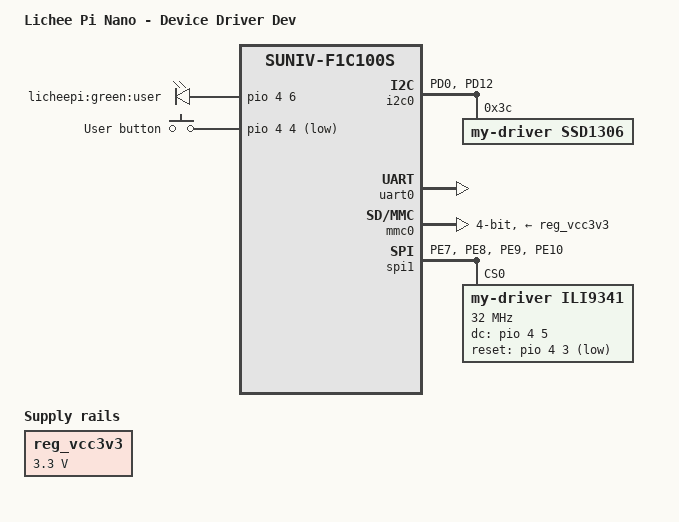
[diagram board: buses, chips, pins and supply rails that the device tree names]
// SPDX-License-Identifier: (GPL-2.0+ OR X11)
/*
 * LicheePi Nano — Device Driver Development Board DTS
 *
 * Compatible với kernel fork florpor/linux licheepi-nano-v5.4.y
 * DTSI của fork thiếu i2c0/i2c1/i2c2 — định nghĩa i2c0 inline dưới soc.
 *
 * Pin assignments:
 *   PE0/PE1  — UART0 (console, 115200)
 *   PE3      — GPIO out → ILI9341 RST  (active-low)
 *   PE4      — GPIO in  → Button interrupt (active-low, nối GND)
 *   PE5      — GPIO out → ILI9341 DC
 *   PE6      — GPIO out → LED
 *   PE7      — SPI1 CS
 *   PE8      — SPI1 MOSI
 *   PE9      — SPI1 CLK
 *   PE10     — SPI1 MISO
 *   PD0      — I2C0 SDA → SSD1306
 *   PD12     — I2C0 SCK
 *   PF0–PF5  — MMC0 (SD card)
 */

/dts-v1/;
#include "suniv-f1c100s.dtsi"
#include <dt-bindings/gpio/gpio.h>
#include <dt-bindings/input/input.h>
#include <dt-bindings/interrupt-controller/irq.h>

/ {
	model = "Lichee Pi Nano - Device Driver Dev";
	compatible = "licheepi,licheepi-nano", "allwinner,suniv-f1c100s";

	aliases {
		serial0 = &uart0;
	};

	chosen {
		stdout-path = "serial0:115200n8";
	};

	reg_vcc3v3: vcc3v3 {
		compatible = "regulator-fixed";
		regulator-name = "vcc3v3";
		regulator-min-microvolt = <3300000>;
		regulator-max-microvolt = <3300000>;
	};

	/* Task 1: GPIO LED blink
	 * Driver: drivers/leds/leds-gpio.c (CONFIG_LEDS_GPIO — đã có)
	 * Test:   echo 1 > /sys/class/leds/licheepi:green:user/brightness
	 */
	leds {
		compatible = "gpio-leds";

		led_user: led0 {
			label = "licheepi:green:user";
			gpios = <&pio 4 6 GPIO_ACTIVE_HIGH>; /* PE6 */
			default-state = "off";
		};
	};

	/* Task 2: Button interrupt blink
	 * Driver: drivers/input/keyboard/gpio_keys.c (CONFIG_KEYBOARD_GPIO)
	 * Test:   cat /dev/input/event0 | hexdump -C
	 */
	gpio_keys {
		compatible = "gpio-keys";
		#address-cells = <1>;
		#size-cells = <0>;

		button0: button@0 {
			reg = <0>;
			label = "User button";
			gpios = <&pio 4 4 GPIO_ACTIVE_LOW>; /* PE4, nối GND */
			linux,code = <KEY_ENTER>;
			debounce-interval = <20>;
			wakeup-source;
		};
	};

	soc {
		/* Task 3: I2C0 + SSD1306
		 * Node này không có trong DTSI của fork — định nghĩa inline.
		 * CLK_BUS_I2C0 = 34, RST_BUS_I2C0 = 21 (từ suniv-ccu-f1c100s.h)
		 * Pins: PD0 (SDA), PD12 (SCK) — thêm pinctrl group trong &pio bên dưới
		 */
		i2c0: i2c@1c27000 {
			compatible = "allwinner,suniv-f1c100s-i2c",
				     "allwinner,sun6i-a31-i2c";
			reg = <0x01c27000 0x400>;
			interrupts = <7>;
			clocks = <&ccu CLK_BUS_I2C0>;
			resets = <&ccu RST_BUS_I2C0>;
			pinctrl-names = "default";
			pinctrl-0 = <&i2c0_pd_pins>;
			#address-cells = <1>;
			#size-cells = <0>;
			status = "okay";

			ssd1306: oled@3c {
				compatible = "my-driver,ssd1306";
				reg = <0x3c>;
			};
		};
	};
};

/* Thêm pinctrl groups còn thiếu trong DTSI của fork */
&pio {
	/* I2C0: PD0 (SDA, alt-func 3), PD12 (SCK, alt-func 3) */
	i2c0_pd_pins: i2c0-pd-pins {
		pins = "PD0", "PD12";
		function = "i2c0";
	};

	/* SPI1: PE7(CS), PE8(MOSI), PE9(CLK), PE10(MISO) — alt-func 4 */
	spi1_pe_pins: spi1-pe-pins {
		pins = "PE7", "PE8", "PE9", "PE10";
		function = "spi1";
	};
};

/* UART0 — console debug */
&uart0 {
	pinctrl-names = "default";
	pinctrl-0 = <&uart0_pe_pins>;
	status = "okay";
};

/* MMC0 — SD card boot */
&mmc0 {
	vmmc-supply = <&reg_vcc3v3>;
	bus-width = <4>;
	broken-cd;
	status = "okay";
};

/* Task 4: SPI1 + ILI9341
 * Controller SPI1 @ 0x01C06000, pins PE7–PE10
 * GPIO bổ sung: PE5 (DC), PE3 (RST active-low)
 * Driver đọc dc-gpios / reset-gpios qua devm_gpiod_get()
 */
&spi1 {
	pinctrl-names = "default";
	pinctrl-0 = <&spi1_pe_pins>;
	#address-cells = <1>;
	#size-cells = <0>;
	status = "okay";

	ili9341: display@0 {
		compatible = "my-driver,ili9341";
		reg = <0>;
		spi-max-frequency = <32000000>;
		dc-gpios    = <&pio 4 5 GPIO_ACTIVE_HIGH>; /* PE5 */
		reset-gpios = <&pio 4 3 GPIO_ACTIVE_LOW>;  /* PE3 */
	};
};
